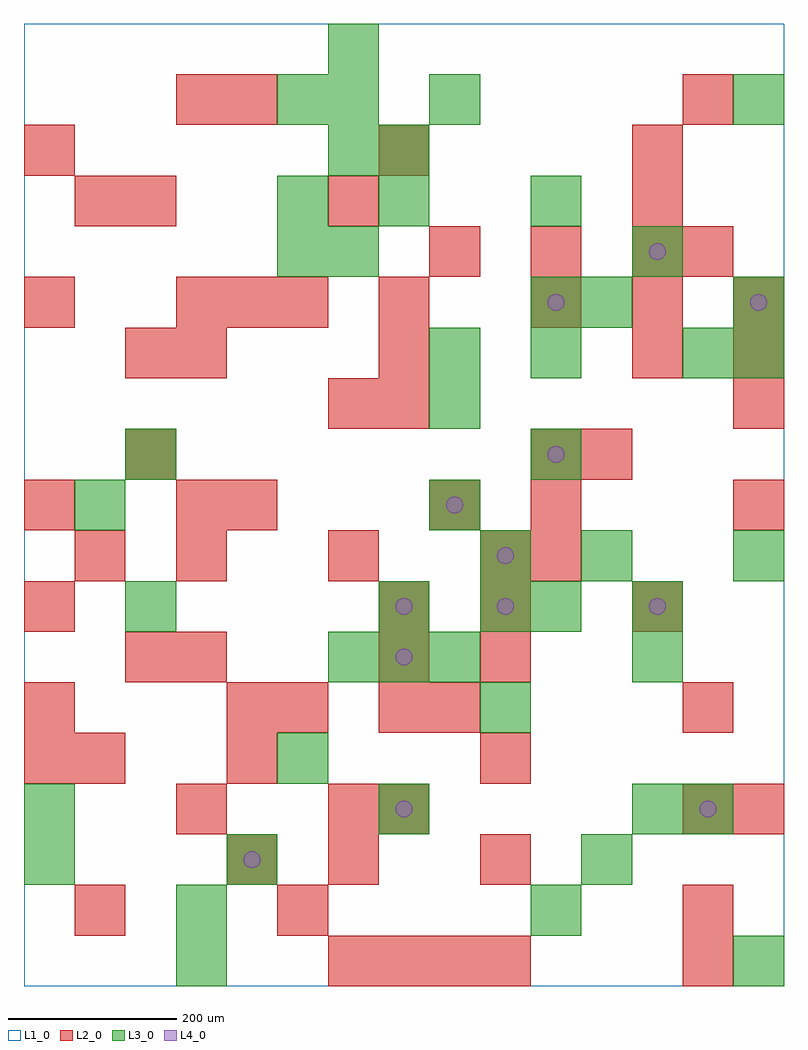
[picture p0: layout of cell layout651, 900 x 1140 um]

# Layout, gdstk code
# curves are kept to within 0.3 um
import gdstk
lib = gdstk.Library(unit=1e-6, precision=1e-09)
def R(c, l, rs):  # rectangles x0, y0, x1, y1
    for r in rs: c.add(gdstk.rectangle(r[:2], r[2:], *l))
def A(c, l, x, y, w, h, nx, ny, dx, dy):  # array of equal rectangles
    R(c, l, [(x+i*dx, y+j*dy, x+i*dx+w, y+j*dy+h) for i in range(nx) for j in range(ny)])
def P(c, l, *ps):  # polygons
    for p in ps: c.add(gdstk.Polygon(p, *l))
L1_0 = (1, 0)
L2_0 = (2, 0)
L3_0 = (3, 0)
L4_0 = (4, 0)

layout651 = lib.new_cell('layout651')
R(layout651, L1_0, [(0,0,900,1140)])
A(layout651, L2_0, 360, 0, 60, 60, 4, 1, 60, 0)
A(layout651, L2_0, 780, 60, 60, 60, 1, 3, 0, 120)
A(layout651, L2_0, 540, 120, 60, 60, 1, 3, 0, 120)
A(layout651, L2_0, 180, 180, 60, 60, 1, 4, 0, 180)
A(layout651, L2_0, 0, 300, 60, 60, 1, 3, 0, 120)
A(layout651, L2_0, 420, 300, 60, 60, 1, 3, 0, 60)
A(layout651, L2_0, 180, 480, 60, 60, 3, 1, 180, 0)
A(layout651, L2_0, 600, 480, 60, 60, 1, 3, 0, 60)
A(layout651, L2_0, 420, 660, 60, 60, 1, 3, 0, 60)
A(layout651, L2_0, 180, 780, 60, 60, 3, 1, 60, 0)
A(layout651, L2_0, 600, 780, 60, 60, 3, 1, 120, 0)
A(layout651, L2_0, 480, 840, 60, 60, 3, 1, 120, 0)
R(layout651, L2_0, [(780,0,840,60), (60,60,120,120), (300,60,360,120), (240,120,300,180), (360,120,420,180), (360,180,420,240), (420,180,480,240), (840,180,900,240), (0,240,60,300), (60,240,120,300), (240,240,300,300), (240,300,300,360), (300,300,360,360), (480,300,540,360), (120,360,180,420), (540,420,600,480), (720,420,780,480), (60,480,120,540), (240,540,300,600), (480,540,540,600), (840,540,900,600), (120,600,180,660), (660,600,720,660), (360,660,420,720), (840,660,900,720), (120,720,180,780), (720,720,780,780), (840,720,900,780), (0,780,60,840), (780,840,840,900), (60,900,120,960), (120,900,180,960), (360,900,420,960), (720,900,780,960), (0,960,60,1020), (420,960,480,1020), (720,960,780,1020), (180,1020,240,1080), (240,1020,300,1080), (780,1020,840,1080)])
A(layout651, L3_0, 360, 360, 60, 60, 3, 1, 60, 0)
A(layout651, L3_0, 360, 960, 60, 60, 1, 3, 0, 60)
R(layout651, L3_0, [(180,0,240,60), (840,0,900,60), (180,60,240,120), (600,60,660,120), (0,120,60,180), (240,120,300,180), (660,120,720,180), (0,180,60,240), (420,180,480,240), (720,180,780,240), (780,180,840,240), (300,240,360,300), (540,300,600,360), (720,360,780,420), (120,420,180,480), (420,420,480,480), (540,420,600,480), (600,420,660,480), (720,420,780,480), (540,480,600,540), (660,480,720,540), (840,480,900,540), (60,540,120,600), (480,540,540,600), (120,600,180,660), (600,600,660,660), (480,660,540,720), (480,720,540,780), (600,720,660,780), (780,720,840,780), (840,720,900,780), (600,780,660,840), (660,780,720,840), (840,780,900,840), (300,840,360,900), (360,840,420,900), (720,840,780,900), (300,900,360,960), (420,900,480,960), (600,900,660,960), (420,960,480,1020), (300,1020,360,1080), (480,1020,540,1080), (840,1020,900,1080)])
P(layout651, L4_0, [(280,150),(279.239,153.827),(277.071,157.071),(273.827,159.239),(270,160),(266.173,159.239),(262.929,157.071),(260.761,153.827),(260,150),(260.761,146.173),(262.929,142.929),(266.173,140.761),(270,140),(273.827,140.761),(277.071,142.929),(279.239,146.173)],
  [(460,210),(459.239,213.827),(457.071,217.071),(453.827,219.239),(450,220),(446.173,219.239),(442.929,217.071),(440.761,213.827),(440,210),(440.761,206.173),(442.929,202.929),(446.173,200.761),(450,200),(453.827,200.761),(457.071,202.929),(459.239,206.173)],
  [(460,390),(459.239,393.827),(457.071,397.071),(453.827,399.239),(450,400),(446.173,399.239),(442.929,397.071),(440.761,393.827),(440,390),(440.761,386.173),(442.929,382.929),(446.173,380.761),(450,380),(453.827,380.761),(457.071,382.929),(459.239,386.173)],
  [(460,450),(459.239,453.827),(457.071,457.071),(453.827,459.239),(450,460),(446.173,459.239),(442.929,457.071),(440.761,453.827),(440,450),(440.761,446.173),(442.929,442.929),(446.173,440.761),(450,440),(453.827,440.761),(457.071,442.929),(459.239,446.173)],
  [(520,570),(519.239,573.827),(517.071,577.071),(513.827,579.239),(510,580),(506.173,579.239),(502.929,577.071),(500.761,573.827),(500,570),(500.761,566.173),(502.929,562.929),(506.173,560.761),(510,560),(513.827,560.761),(517.071,562.929),(519.239,566.173)],
  [(580,450),(579.239,453.827),(577.071,457.071),(573.827,459.239),(570,460),(566.173,459.239),(562.929,457.071),(560.761,453.827),(560,450),(560.761,446.173),(562.929,442.929),(566.173,440.761),(570,440),(573.827,440.761),(577.071,442.929),(579.239,446.173)],
  [(580,510),(579.239,513.827),(577.071,517.071),(573.827,519.239),(570,520),(566.173,519.239),(562.929,517.071),(560.761,513.827),(560,510),(560.761,506.173),(562.929,502.929),(566.173,500.761),(570,500),(573.827,500.761),(577.071,502.929),(579.239,506.173)],
  [(640,630),(639.239,633.827),(637.071,637.071),(633.827,639.239),(630,640),(626.173,639.239),(622.929,637.071),(620.761,633.827),(620,630),(620.761,626.173),(622.929,622.929),(626.173,620.761),(630,620),(633.827,620.761),(637.071,622.929),(639.239,626.173)],
  [(640,810),(639.239,813.827),(637.071,817.071),(633.827,819.239),(630,820),(626.173,819.239),(622.929,817.071),(620.761,813.827),(620,810),(620.761,806.173),(622.929,802.929),(626.173,800.761),(630,800),(633.827,800.761),(637.071,802.929),(639.239,806.173)],
  [(760,450),(759.239,453.827),(757.071,457.071),(753.827,459.239),(750,460),(746.173,459.239),(742.929,457.071),(740.761,453.827),(740,450),(740.761,446.173),(742.929,442.929),(746.173,440.761),(750,440),(753.827,440.761),(757.071,442.929),(759.239,446.173)],
  [(760,870),(759.239,873.827),(757.071,877.071),(753.827,879.239),(750,880),(746.173,879.239),(742.929,877.071),(740.761,873.827),(740,870),(740.761,866.173),(742.929,862.929),(746.173,860.761),(750,860),(753.827,860.761),(757.071,862.929),(759.239,866.173)],
  [(820,210),(819.239,213.827),(817.071,217.071),(813.827,219.239),(810,220),(806.173,219.239),(802.929,217.071),(800.761,213.827),(800,210),(800.761,206.173),(802.929,202.929),(806.173,200.761),(810,200),(813.827,200.761),(817.071,202.929),(819.239,206.173)],
  [(880,810),(879.239,813.827),(877.071,817.071),(873.827,819.239),(870,820),(866.173,819.239),(862.929,817.071),(860.761,813.827),(860,810),(860.761,806.173),(862.929,802.929),(866.173,800.761),(870,800),(873.827,800.761),(877.071,802.929),(879.239,806.173)])

lib.write_gds('layout651.gds')
